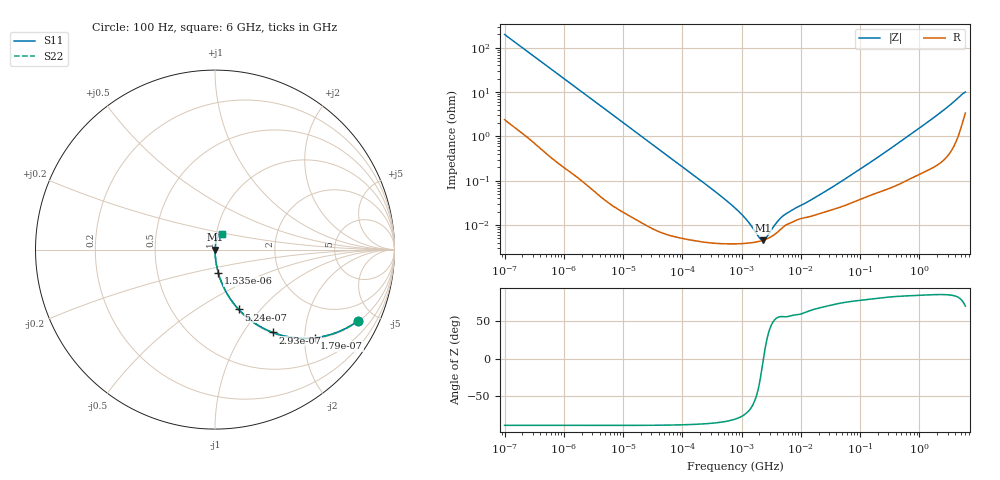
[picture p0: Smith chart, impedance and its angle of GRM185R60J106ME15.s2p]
!Murata Part Number: GRM185R60J106ME15
!These Parameters are Measured in Series Mode Connection
!Data Generated on Mar 30, 2021
!  o--ll--o
!Port1  Port2
!  o------o
!Operation Temp=25[degC], DC Bias Voltage=0[V]
!Freq. Start=100[Hz] Stop=6[GHz] 401[Steps]
# Hz S RI R 50
!Freq.(Hz) S11(Real) S11(Imag) S21(Real) S21(Imag) S12(Real) S12(Imag) S22(Real) S22(Imag)
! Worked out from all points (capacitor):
!   401 points, 100 Hz to 6 GHz, reference 50 ohm
!   read as one part in series: C = 7.96 uF near 109 Hz
!   lowest |Z| = 4.55 mohm at 2.269 MHz (marker M1)
!   series resonance near 2.344 MHz, so ESL is about 580 pH
!   S11 on the Smith chart (normalised r, x): 100 Hz: 1.05, -3.99; 179 Hz: 1.03, -2.24; 293 Hz: 1.02, -1.37; 524 Hz: 1.01, -0.77; 1.535 kHz: 1.00, -0.26; 6 GHz: 1.07, +0.19
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100  0.7963 -0.3968  0.2037 0.3968  0.2037 0.3968  0.7963 -0.3968
120  0.7336 -0.4362  0.2664 0.4362  0.2664 0.4362  0.7336 -0.4362
179  0.5555 -0.4911  0.4445 0.4911  0.4445 0.4911  0.5555 -0.4911
293  0.3223 -0.4618  0.6777 0.4618  0.6777 0.4618  0.3223 -0.4618
524  0.1317 -0.3331  0.8683 0.3331  0.8683 0.3331  0.1317 -0.3331
820  0.0594 -0.2315  0.9406 0.2315  0.9406 0.2315  0.0594 -0.2315
1535  0.0185 -0.1297  0.9815 0.1297  0.9815 0.1297  0.0185 -0.1297
2008  0.0111 -0.1001  0.9889 0.1001  0.9889 0.1001  0.0111 -0.1001
6433  0.00129 -0.0318  0.9987 0.0318  0.9987 0.0318  0.00129 -0.0318
40335  9.7e-05 -0.00512  0.9999 0.00512  0.9999 0.00512  9.7e-05 -0.00512
316350  3.97e-05 -0.000647  1 0.000647  1 0.000647  3.97e-05 -0.000647
774597  3.77e-05 -0.00024  1 0.00024  1 0.00024  3.77e-05 -0.00024
1449809  3.98e-05 -8.87e-05  1 8.87e-05  1 8.87e-05  3.98e-05 -8.87e-05
2268635  4.51e-05 -5.7e-06  1 5.7e-06  1 5.7e-06  4.51e-05 -5.7e-06
3549919  6.03e-05 7.48e-05  0.9999 -7.48e-05  0.9999 -7.48e-05  6.03e-05 7.48e-05
5554849  9.94e-05 0.000147  0.9999 -0.000147  0.9999 -0.000147  9.94e-05 0.000147
1.555665e7  0.00016 0.000347  0.9998 -0.000347  0.9998 -0.000347  0.00016 0.000347
4.983056e7  0.000263 0.000957  0.9997 -0.000957  0.9997 -0.000957  0.000263 0.000957
3.124326e8  0.000695 0.00507  0.9993 -0.00507  0.9993 -0.00507  0.000695 0.00507
1.873145e9  0.00291 0.0281  0.9971 -0.0281  0.9971 -0.0281  0.00291 0.0281
5.245841e9  0.0252 0.0827  0.9748 -0.0827  0.9748 -0.0827  0.0252 0.0827
6e9  0.0405 0.0873  0.9595 -0.0873  0.9595 -0.0873  0.0405 0.0873
